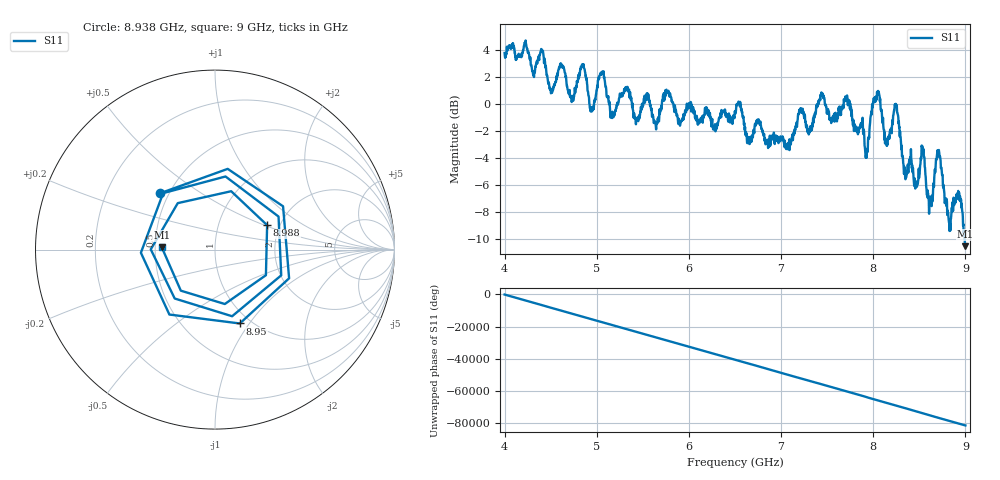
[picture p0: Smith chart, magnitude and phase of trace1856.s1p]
! Created with skrf 1.8.0 (http://scikit-rf.org).
# Hz S RI R 50.0
!freq ReS11 ImS11
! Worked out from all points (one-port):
!   1601 points, 4 GHz to 9 GHz, reference 50 ohm
!   lowest |S11| = -10.6 dB at 9 GHz (marker M1), VSWR 1.84, Z = 27.1 + j0.718 ohm
!   |S11| at or under -10 dB: 8.991407 GHz to end of sweep
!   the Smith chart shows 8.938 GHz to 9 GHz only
!   S11 on the Smith chart (normalised r, x): 8.938 GHz: 0.45, +0.35; 8.95 GHz: 0.89, -0.90; 8.988 GHz: 1.72, +0.52; 9 GHz: 0.54, +0.01
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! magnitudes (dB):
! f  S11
! 4 GHz  3.8
! 4.406 GHz  4.0
! 4.509 GHz  0.9
! 4.625 GHz  2.8
! 4.734 GHz  0.5
! 4.85 GHz  2.9
! 4.944 GHz  -0.5
! 5.05 GHz  2.2
! 5.169 GHz  -0.6
! 5.25 GHz  0.8
! 5.875 GHz  -0.9
! 6.5 GHz  -0.5
! 7.125 GHz  -2.2
! 7.441 GHz  0.7
! 7.75 GHz  0.1
! 7.931 GHz  -3.4
! 8.038 GHz  0.3
! 8.147 GHz  -3.1
! 8.247 GHz  0.0
! 8.375 GHz  -4.5
! 8.538 GHz  -3.2
! 8.622 GHz  -6.9
! 8.706 GHz  -3.6
! 8.825 GHz  -8.9
! 8.938 GHz  -7.2
! 8.95 GHz  -7.2
! 8.988 GHz  -9.9
! 9 GHz  -10.6
